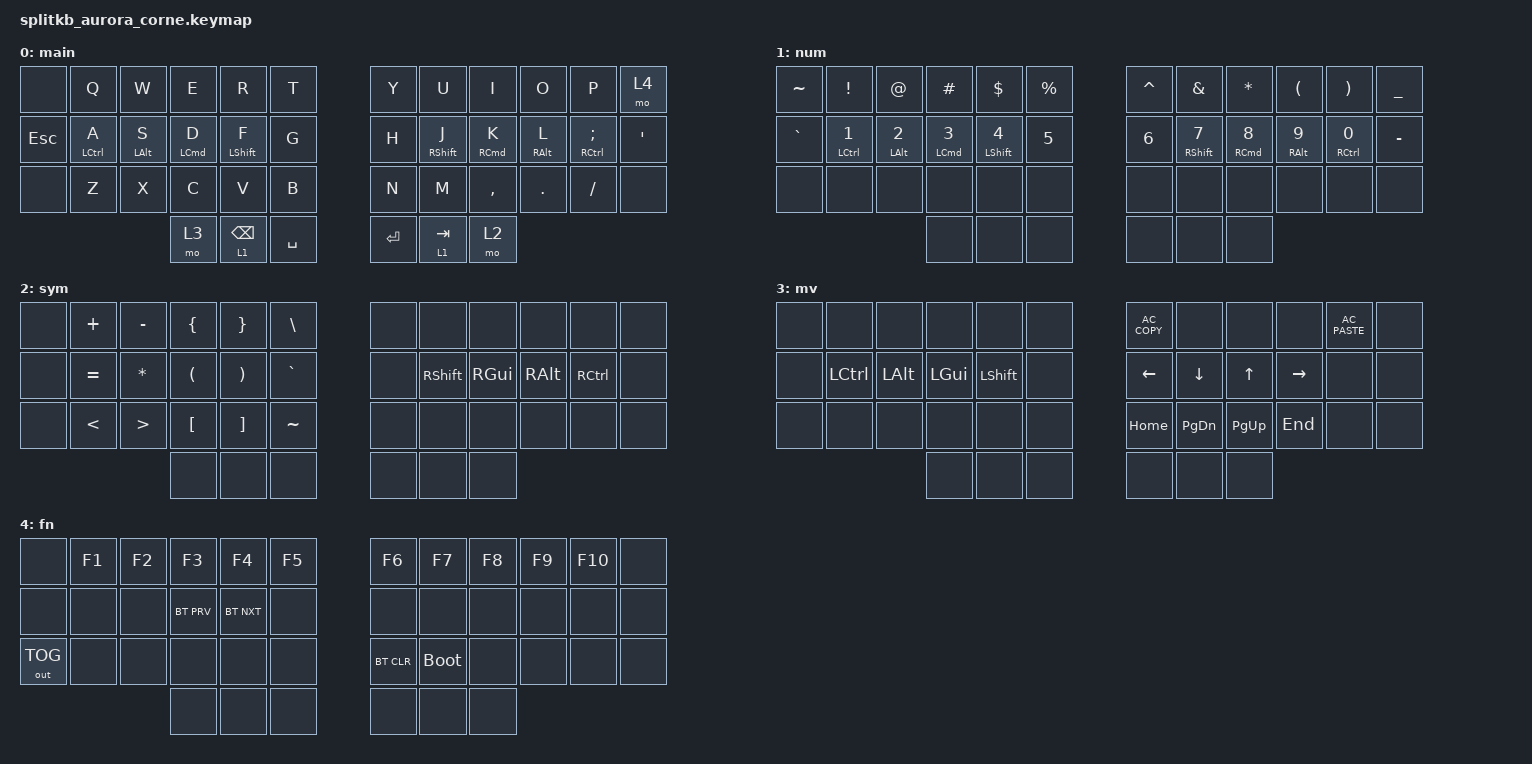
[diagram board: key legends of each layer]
/*
 * Copyright (c) 2020 The ZMK Contributors
 *
 * SPDX-License-Identifier: MIT
 */

#include <behaviors.dtsi>
#include <dt-bindings/zmk/bt.h>
#include <dt-bindings/zmk/keys.h>
#include <dt-bindings/zmk/outputs.h>

&mt {
    tapping-term-ms = <200>;
    flavor = "balanced";
};

/ {
    keymap {
        compatible = "zmk,keymap";

        Main {
            // -----------------------------------------------------------------------------------------
            // |  TAB |  Q  |  W  |  E  |  R  |  T  |   |  Y  |  U   |  I  |  O  |  P  | BKSP |
            // | CTRL |  A  |  S  |  D  |  F  |  G  |   |  H  |  J   |  K  |  L  |  ;  |  '   |
            // | SHFT |  Z  |  X  |  C  |  V  |  B  |   |  N  |  M   |  ,  |  .  |  /  | ESC  |
            //                    | GUI | LWR | SPC |   | ENT | RSE  | ALT |

            bindings = <
     &none               &kp Q       &kp W       &kp E             &kp R      &kp T      &kp Y        &kp U       &kp I       &kp O                &kp P    &mo 4
&kp ESCAPE  &mt LEFT_CONTROL A  &mt LALT S  &mt LCMD D  &mt LEFT_SHIFT F      &kp G      &kp H  &mt RSHFT J  &mt RCMD K  &mt RALT L  &mt RCTRL SEMICOLON  &kp SQT
     &none               &kp Z       &kp X       &kp C             &kp V      &kp B      &kp N        &kp M   &kp COMMA     &kp DOT             &kp FSLH    &none
                                                 &mo 3        &lt 1 BSPC  &kp SPACE    &kp RET    &lt 1 TAB       &mo 2
            >;

            label = "main";
        };

        Num {
            bindings = <
&kp TILDE            &kp EXCL        &kp AT_SIGN           &kp HASH           &kp DOLLAR   &kp PERCENT    &kp CARET            &kp AMPS          &kp ASTRK           &kp LPAR                    &kp RPAR  &kp UNDERSCORE
&kp GRAVE  &mt LCTRL NUMBER_1  &mt LALT NUMBER_2  &mt LCMD NUMBER_3  &mt LSHIFT NUMBER_4  &kp NUMBER_5       &kp N6  &mt RSHFT NUMBER_7  &mt RCMD NUMBER_8  &mt RALT NUMBER_9  &mt RIGHT_CONTROL NUMBER_0       &kp MINUS
    &none               &none              &none              &none                &none         &none        &none               &none              &none              &none                       &none           &none
                                                              &none                &none         &none        &none               &none              &none
            >;

            label = "num";
        };

        Symbol {
            bindings = <
&none   &kp PLUS  &kp MINUS  &kp LBRC  &kp RBRC   &kp BSLH    &none      &none     &none     &none      &none  &none
&none  &kp EQUAL  &kp ASTRK  &kp LPAR  &kp RPAR  &kp GRAVE    &none  &kp RSHFT  &kp RGUI  &kp RALT  &kp RCTRL  &none
&none     &kp LT     &kp GT  &kp LBKT  &kp RBKT  &kp TILDE    &none      &none     &none     &none      &none  &none
                                &none     &none      &none    &none      &none     &none
            >;

            label = "sym";
        };

        Movement {
            bindings = <
&none      &none     &none     &none      &none  &none    &kp C_AC_COPY      &none      &none      &none  &kp C_AC_PASTE  &none
&none  &kp LCTRL  &kp LALT  &kp LGUI  &kp LSHFT  &none         &kp LEFT   &kp DOWN     &kp UP  &kp RIGHT           &none  &none
&none      &none     &none     &none      &none  &none         &kp HOME  &kp PG_DN  &kp PG_UP    &kp END           &none  &none
                               &none      &none  &none            &none      &none      &none
            >;

            label = "mv";
        };

        FN {
            bindings = <
       &none  &kp F1  &kp F2      &kp F3      &kp F4  &kp F5        &kp F6       &kp F7  &kp F8  &kp F9  &kp F10  &none
       &none   &none   &none  &bt BT_PRV  &bt BT_NXT   &none         &none        &none   &none   &none    &none  &none
&out OUT_TOG   &none   &none       &none       &none   &none    &bt BT_CLR  &bootloader   &none   &none    &none  &none
                                   &none       &none   &none         &none        &none   &none
            >;

            label = "fn";
        };
    };
};
